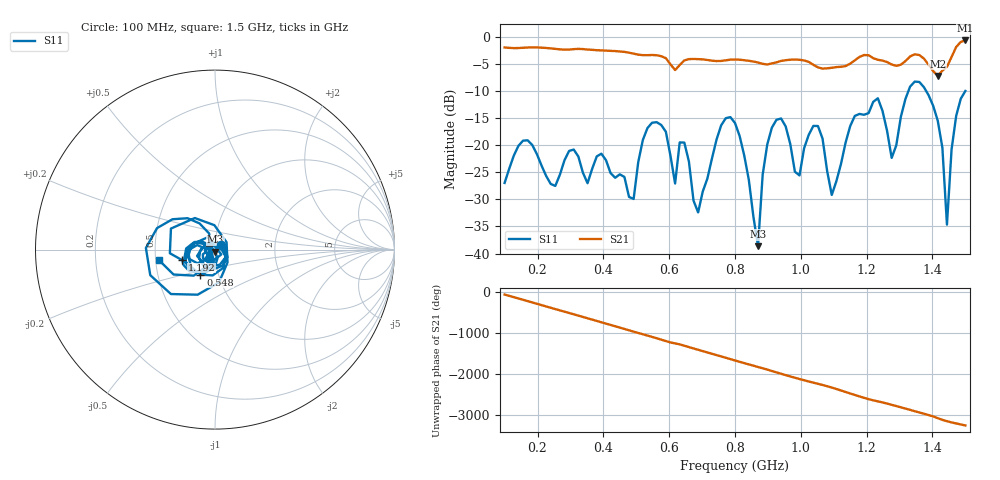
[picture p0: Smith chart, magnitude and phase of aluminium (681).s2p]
! NanoVNA-App
! Date: 2025-09-25 15:00:35
! Start: 100MHz Stop: 1,5GHz Points: 101
! S-Parameter data: F S11 S21 S12 S22
# Hz S RI R 50
!  Frequency  S11_Real  S11_Imag  S21_Real  S21_Imag  S12_Real  S12_Imag  S22_Real  S22_Imag
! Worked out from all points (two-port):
!   101 points, 100 MHz to 1.5 GHz, reference 50 ohm
!   highest |S21| = -0.62 dB at 1.5 GHz (marker M1); lowest = -7.2 dB at 1.416 GHz (marker M2)
!   |S21| within 3 dB of the highest: start of sweep to 579.4 MHz; 1.331 GHz to 1.366 GHz (35.17 MHz wide, 2.61 % of centre) (the widest 2 of 4)
!   lowest |S11| = -38.6 dB at 870 MHz (marker M3), VSWR 1.02, Z = 50.2 - j1.16 ohm
!   |S11| at or under -10 dB: start of sweep to 1.327 GHz; 1.381 GHz to 1.5 GHz (118.5 MHz wide, 8.22 % of centre)
!   S12 and S22 are empty: the file has one direction only
!   S11 on the Smith chart (normalised r, x): 100 MHz: 1.07, +0.06; 548 MHz: 0.82, -0.24; 1.192 GHz: 0.69, -0.08; 1.5 GHz: 0.52, -0.07
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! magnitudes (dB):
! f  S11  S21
! 100 MHz  -27.0  -1.9
! 156 MHz  -19.1  -2.0
! 338 MHz  -25.1  -2.2
! 492 MHz  -29.9  -3.1
! 548 MHz  -15.8  -3.3
! 576 MHz  -16.2  -3.5
! 646 MHz  -19.5  -4.3
! 688 MHz  -32.4  -4.1
! 800 MHz  -15.9  -4.1
! 870 MHz  -38.6  -4.7
! 912 MHz  -16.7  -4.9
! 996 MHz  -25.6  -4.2
! 1.038 GHz  -16.4  -5.1
! 1.094 GHz  -29.2  -5.7
! 1.192 GHz  -14.4  -3.3
! 1.234 GHz  -11.3  -4.2
! 1.276 GHz  -22.3  -5.1
! 1.346 GHz  -8.2  -3.2
! 1.416 GHz  -15.4  -7.2
! 1.444 GHz  -34.7  -5.5
! 1.472 GHz  -14.6  -1.8
! 1.5 GHz  -10.0  -0.6
